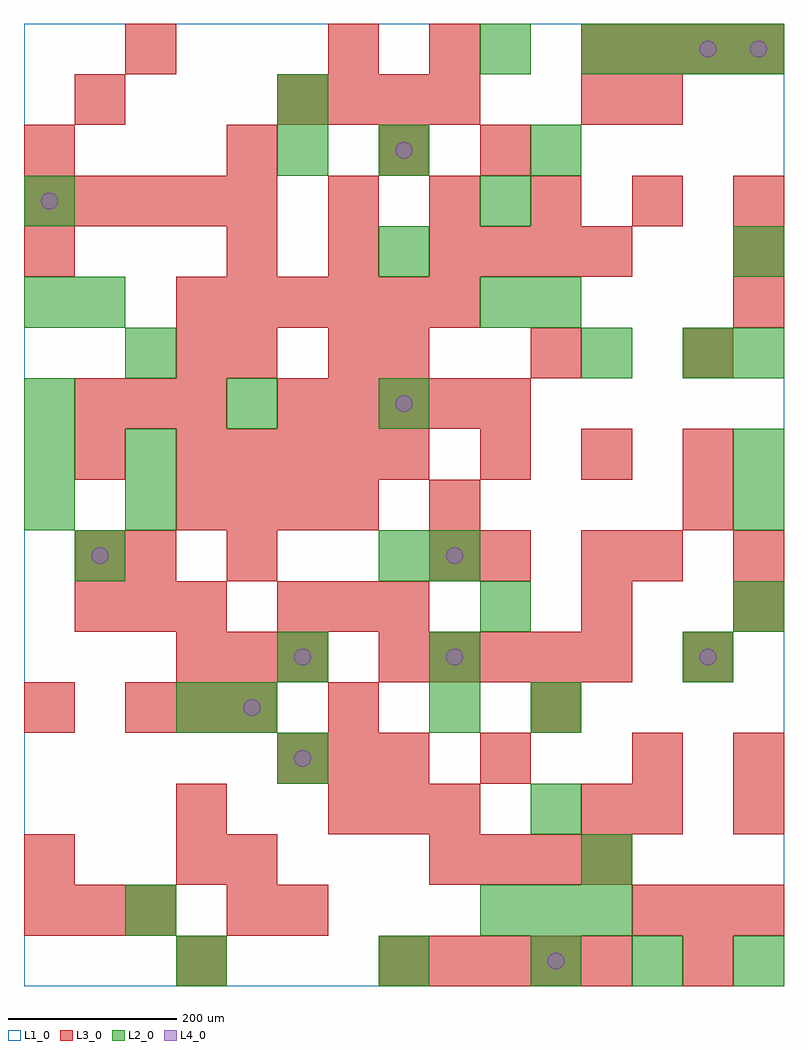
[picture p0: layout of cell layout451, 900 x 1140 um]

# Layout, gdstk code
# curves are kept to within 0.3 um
import gdstk
lib = gdstk.Library(unit=1e-6, precision=1e-09)
def R(c, l, rs):  # rectangles x0, y0, x1, y1
    for r in rs: c.add(gdstk.rectangle(r[:2], r[2:], *l))
def A(c, l, x, y, w, h, nx, ny, dx, dy):  # array of equal rectangles
    R(c, l, [(x+i*dx, y+j*dy, x+i*dx+w, y+j*dy+h) for i in range(nx) for j in range(ny)])
def P(c, l, *ps):  # polygons
    for p in ps: c.add(gdstk.Polygon(p, *l))
L1_0 = (1, 0)
L2_0 = (2, 0)
L3_0 = (3, 0)
L4_0 = (4, 0)

layout451 = lib.new_cell('layout451')
R(layout451, L1_0, [(0,0,900,1140)])
A(layout451, L2_0, 600, 0, 60, 60, 3, 1, 120, 0)
A(layout451, L2_0, 540, 60, 60, 60, 3, 1, 60, 0)
A(layout451, L2_0, 420, 480, 60, 60, 1, 3, 0, 180)
A(layout451, L2_0, 0, 540, 60, 60, 1, 3, 0, 60)
A(layout451, L2_0, 840, 600, 60, 60, 1, 3, 0, 120)
A(layout451, L2_0, 660, 1080, 60, 60, 4, 1, 60, 0)
R(layout451, L2_0, [(180,0,240,60), (420,0,480,60), (120,60,180,120), (660,120,720,180), (600,180,660,240), (300,240,360,300), (180,300,240,360), (240,300,300,360), (480,300,540,360), (600,300,660,360), (300,360,360,420), (480,360,540,420), (780,360,840,420), (540,420,600,480), (840,420,900,480), (60,480,120,540), (480,480,540,540), (120,540,180,600), (840,540,900,600), (120,600,180,660), (240,660,300,720), (120,720,180,780), (660,720,720,780), (780,720,840,780), (0,780,60,840), (60,780,120,840), (540,780,600,840), (600,780,660,840), (0,900,60,960), (540,900,600,960), (300,960,360,1020), (420,960,480,1020), (600,960,660,1020), (300,1020,360,1080), (540,1080,600,1140)])
A(layout451, L3_0, 420, 0, 60, 60, 5, 2, 60, 360)
A(layout451, L3_0, 0, 60, 60, 60, 3, 1, 60, 0)
A(layout451, L3_0, 720, 60, 60, 60, 3, 1, 60, 0)
A(layout451, L3_0, 480, 120, 60, 60, 4, 1, 60, 0)
A(layout451, L3_0, 360, 180, 60, 60, 3, 1, 60, 0)
A(layout451, L3_0, 300, 240, 60, 60, 3, 2, 60, 180)
A(layout451, L3_0, 120, 300, 60, 60, 3, 1, 60, 0)
A(layout451, L3_0, 180, 360, 60, 60, 3, 1, 60, 0)
A(layout451, L3_0, 60, 420, 60, 60, 3, 2, 60, 240)
A(layout451, L3_0, 240, 480, 60, 60, 1, 3, 0, 240)
A(layout451, L3_0, 180, 540, 60, 60, 4, 1, 60, 0)
A(layout451, L3_0, 180, 600, 60, 60, 5, 1, 60, 0)
A(layout451, L3_0, 540, 600, 60, 60, 3, 1, 120, 0)
A(layout451, L3_0, 300, 660, 60, 60, 5, 1, 60, 0)
A(layout451, L3_0, 420, 720, 60, 60, 3, 1, 180, 0)
A(layout451, L3_0, 180, 780, 60, 60, 6, 1, 60, 0)
A(layout451, L3_0, 240, 840, 60, 60, 3, 1, 120, 0)
A(layout451, L3_0, 540, 840, 60, 60, 3, 1, 60, 0)
A(layout451, L3_0, 0, 900, 60, 60, 5, 1, 60, 0)
A(layout451, L3_0, 360, 900, 60, 60, 5, 1, 120, 0)
A(layout451, L3_0, 300, 1020, 60, 60, 4, 1, 60, 0)
A(layout451, L3_0, 660, 1080, 60, 60, 4, 1, 60, 0)
R(layout451, L3_0, [(180,0,240,60), (780,0,840,60), (240,60,300,120), (300,60,360,120), (0,120,60,180), (180,120,240,180), (240,120,300,180), (180,180,240,240), (660,180,720,240), (720,180,780,240), (840,180,900,240), (540,240,600,300), (720,240,780,300), (840,240,900,300), (0,300,60,360), (360,300,420,360), (600,300,660,360), (780,360,840,420), (660,420,720,480), (840,420,900,480), (60,480,120,540), (120,480,180,540), (480,480,540,540), (540,480,600,540), (660,480,720,540), (720,480,780,540), (840,480,900,540), (480,540,540,600), (780,540,840,600), (60,600,120,660), (180,720,240,780), (360,720,420,780), (840,780,900,840), (0,840,60,900), (840,840,900,900), (0,960,60,1020), (420,960,480,1020), (540,960,600,1020), (60,1020,120,1080), (660,1020,720,1080), (720,1020,780,1080), (120,1080,180,1140), (360,1080,420,1140), (480,1080,540,1140)])
P(layout451, L4_0, [(40,930),(39.239,933.827),(37.071,937.071),(33.827,939.239),(30,940),(26.173,939.239),(22.929,937.071),(20.761,933.827),(20,930),(20.761,926.173),(22.929,922.929),(26.173,920.761),(30,920),(33.827,920.761),(37.071,922.929),(39.239,926.173)],
  [(100,510),(99.239,513.827),(97.071,517.071),(93.827,519.239),(90,520),(86.173,519.239),(82.929,517.071),(80.761,513.827),(80,510),(80.761,506.173),(82.929,502.929),(86.173,500.761),(90,500),(93.827,500.761),(97.071,502.929),(99.239,506.173)],
  [(280,330),(279.239,333.827),(277.071,337.071),(273.827,339.239),(270,340),(266.173,339.239),(262.929,337.071),(260.761,333.827),(260,330),(260.761,326.173),(262.929,322.929),(266.173,320.761),(270,320),(273.827,320.761),(277.071,322.929),(279.239,326.173)],
  [(340,270),(339.239,273.827),(337.071,277.071),(333.827,279.239),(330,280),(326.173,279.239),(322.929,277.071),(320.761,273.827),(320,270),(320.761,266.173),(322.929,262.929),(326.173,260.761),(330,260),(333.827,260.761),(337.071,262.929),(339.239,266.173)],
  [(340,390),(339.239,393.827),(337.071,397.071),(333.827,399.239),(330,400),(326.173,399.239),(322.929,397.071),(320.761,393.827),(320,390),(320.761,386.173),(322.929,382.929),(326.173,380.761),(330,380),(333.827,380.761),(337.071,382.929),(339.239,386.173)],
  [(460,690),(459.239,693.827),(457.071,697.071),(453.827,699.239),(450,700),(446.173,699.239),(442.929,697.071),(440.761,693.827),(440,690),(440.761,686.173),(442.929,682.929),(446.173,680.761),(450,680),(453.827,680.761),(457.071,682.929),(459.239,686.173)],
  [(460,990),(459.239,993.827),(457.071,997.071),(453.827,999.239),(450,1000),(446.173,999.239),(442.929,997.071),(440.761,993.827),(440,990),(440.761,986.173),(442.929,982.929),(446.173,980.761),(450,980),(453.827,980.761),(457.071,982.929),(459.239,986.173)],
  [(520,390),(519.239,393.827),(517.071,397.071),(513.827,399.239),(510,400),(506.173,399.239),(502.929,397.071),(500.761,393.827),(500,390),(500.761,386.173),(502.929,382.929),(506.173,380.761),(510,380),(513.827,380.761),(517.071,382.929),(519.239,386.173)],
  [(520,510),(519.239,513.827),(517.071,517.071),(513.827,519.239),(510,520),(506.173,519.239),(502.929,517.071),(500.761,513.827),(500,510),(500.761,506.173),(502.929,502.929),(506.173,500.761),(510,500),(513.827,500.761),(517.071,502.929),(519.239,506.173)],
  [(640,30),(639.239,33.827),(637.071,37.071),(633.827,39.239),(630,40),(626.173,39.239),(622.929,37.071),(620.761,33.827),(620,30),(620.761,26.173),(622.929,22.929),(626.173,20.761),(630,20),(633.827,20.761),(637.071,22.929),(639.239,26.173)],
  [(820,390),(819.239,393.827),(817.071,397.071),(813.827,399.239),(810,400),(806.173,399.239),(802.929,397.071),(800.761,393.827),(800,390),(800.761,386.173),(802.929,382.929),(806.173,380.761),(810,380),(813.827,380.761),(817.071,382.929),(819.239,386.173)],
  [(820,1110),(819.239,1113.827),(817.071,1117.071),(813.827,1119.239),(810,1120),(806.173,1119.239),(802.929,1117.071),(800.761,1113.827),(800,1110),(800.761,1106.173),(802.929,1102.929),(806.173,1100.761),(810,1100),(813.827,1100.761),(817.071,1102.929),(819.239,1106.173)],
  [(880,1110),(879.239,1113.827),(877.071,1117.071),(873.827,1119.239),(870,1120),(866.173,1119.239),(862.929,1117.071),(860.761,1113.827),(860,1110),(860.761,1106.173),(862.929,1102.929),(866.173,1100.761),(870,1100),(873.827,1100.761),(877.071,1102.929),(879.239,1106.173)])

lib.write_gds('layout451.gds')
